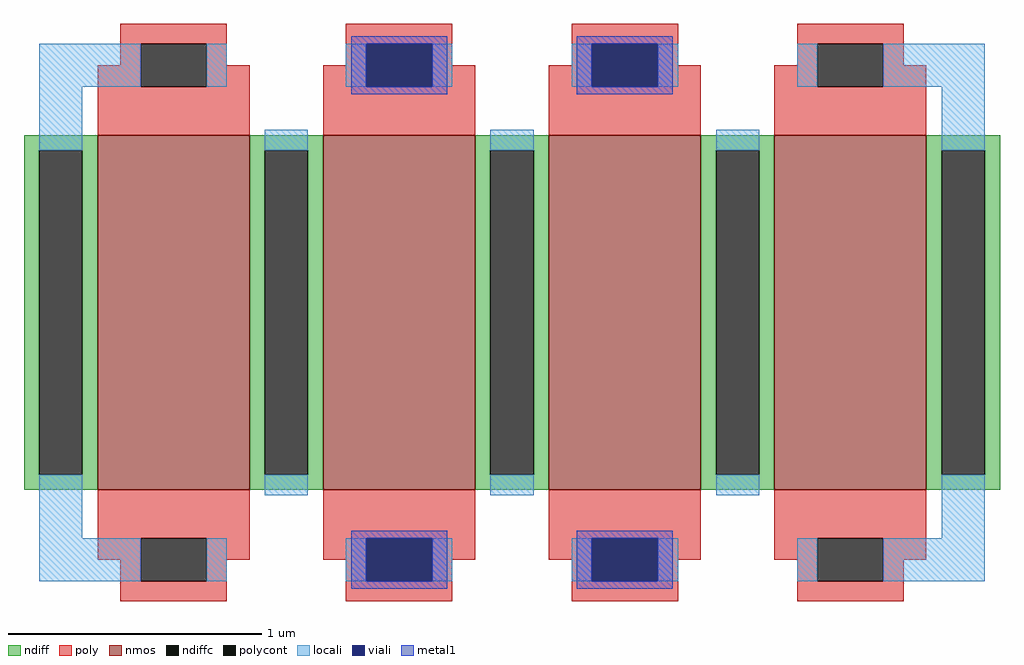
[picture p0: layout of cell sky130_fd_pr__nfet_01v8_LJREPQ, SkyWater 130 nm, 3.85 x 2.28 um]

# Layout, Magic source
magic
tech sky130A
magscale 1 2
<< nmos >>
rect -327 -140 -207 140
rect -149 -140 -29 140
rect 29 -140 149 140
rect 207 -140 327 140
<< ndiff >>
rect -385 128 -327 140
rect -385 -128 -373 128
rect -339 -128 -327 128
rect -385 -140 -327 -128
rect -207 128 -149 140
rect -207 -128 -195 128
rect -161 -128 -149 128
rect -207 -140 -149 -128
rect -29 128 29 140
rect -29 -128 -17 128
rect 17 -128 29 128
rect -29 -140 29 -128
rect 149 128 207 140
rect 149 -128 161 128
rect 195 -128 207 128
rect 149 -140 207 -128
rect 327 128 385 140
rect 327 -128 339 128
rect 373 -128 385 128
rect 327 -140 385 -128
<< ndiffc >>
rect -373 -128 -339 128
rect -195 -128 -161 128
rect -17 -128 17 128
rect 161 -128 195 128
rect 339 -128 373 128
<< poly >>
rect -309 212 -225 228
rect -309 195 -293 212
rect -327 178 -293 195
rect -241 195 -225 212
rect -131 212 -47 228
rect -131 195 -115 212
rect -241 178 -207 195
rect -327 140 -207 178
rect -149 178 -115 195
rect -63 195 -47 212
rect 47 212 131 228
rect 47 195 63 212
rect -63 178 -29 195
rect -149 140 -29 178
rect 29 178 63 195
rect 115 195 131 212
rect 225 212 309 228
rect 225 195 241 212
rect 115 178 149 195
rect 29 140 149 178
rect 207 178 241 195
rect 293 195 309 212
rect 293 178 327 195
rect 207 140 327 178
rect -327 -178 -207 -140
rect -327 -195 -293 -178
rect -309 -212 -293 -195
rect -241 -195 -207 -178
rect -149 -178 -29 -140
rect -149 -195 -115 -178
rect -241 -212 -225 -195
rect -309 -228 -225 -212
rect -131 -212 -115 -195
rect -63 -195 -29 -178
rect 29 -178 149 -140
rect 29 -195 63 -178
rect -63 -212 -47 -195
rect -131 -228 -47 -212
rect 47 -212 63 -195
rect 115 -195 149 -178
rect 207 -178 327 -140
rect 207 -195 241 -178
rect 115 -212 131 -195
rect 47 -228 131 -212
rect 225 -212 241 -195
rect 293 -195 327 -178
rect 293 -212 309 -195
rect 225 -228 309 -212
<< polycont >>
rect -293 178 -241 212
rect -115 178 -63 212
rect 63 178 115 212
rect 241 178 293 212
rect -293 -212 -241 -178
rect -115 -212 -63 -178
rect 63 -212 115 -178
rect 241 -212 293 -178
<< locali >>
rect -373 178 -293 212
rect -241 178 -225 212
rect -131 178 -115 212
rect -63 178 -47 212
rect 47 178 63 212
rect 115 178 131 212
rect 225 178 241 212
rect 293 178 373 212
rect -373 128 -339 178
rect -373 -178 -339 -128
rect -195 128 -161 144
rect -195 -144 -161 -128
rect -17 128 17 144
rect -17 -144 17 -128
rect 161 128 195 144
rect 161 -144 195 -128
rect 339 128 373 178
rect 339 -178 373 -128
rect -373 -212 -293 -178
rect -241 -212 -225 -178
rect -131 -212 -115 -178
rect -63 -212 -47 -178
rect 47 -212 63 -178
rect 115 -212 131 -178
rect 225 -212 241 -178
rect 293 -212 373 -178
<< viali >>
rect -115 178 -63 212
rect 63 178 115 212
rect -115 -212 -63 -178
rect 63 -212 115 -178
<< metal1 >>
rect -127 212 -51 218
rect -127 178 -115 212
rect -63 178 -51 212
rect -127 172 -51 178
rect 51 212 127 218
rect 51 178 63 212
rect 115 178 127 212
rect 51 172 127 178
rect -127 -178 -51 -172
rect -127 -212 -115 -178
rect -63 -212 -51 -178
rect -127 -218 -51 -212
rect 51 -178 127 -172
rect 51 -212 63 -178
rect 115 -212 127 -178
rect 51 -218 127 -212
<< properties >>
string gencell sky130_fd_pr__nfet_01v8
string library sky130
string parameters w 1.4 l 0.6 m 1 nf 4 diffcov 100 polycov 60 guard 0 glc 1 grc 1 gtc 1 gbc 1 tbcov 100 rlcov 100 topc 1 botc 1 poverlap 0 doverlap 1 lmin 0.15 wmin 0.42 compatible {sky130_fd_pr__nfet_01v8 sky130_fd_pr__nfet_01v8_lvt  sky130_fd_bs_flash__special_sonosfet_star  sky130_fd_pr__nfet_g5v0d10v5 sky130_fd_pr__nfet_05v0_nvt  sky130_fd_pr__nfet_03v3_nvt} full_metal 1 viasrc 0 viadrn 0 viagate 60 viagb 0 viagr 0 viagl 0 viagt 0
<< end >>
